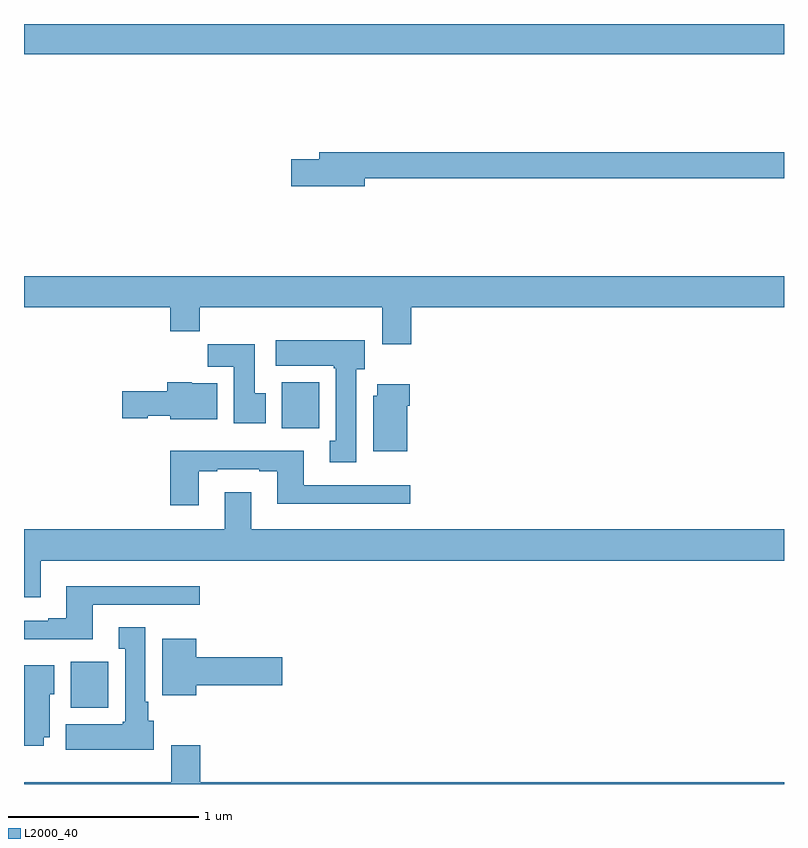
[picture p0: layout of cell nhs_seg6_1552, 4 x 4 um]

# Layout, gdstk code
import gdstk
lib = gdstk.Library(unit=1e-6, precision=1e-09)
def R(c, l, rs):  # rectangles x0, y0, x1, y1
    for r in rs: c.add(gdstk.rectangle(r[:2], r[2:], *l))
def P(c, l, *ps):  # polygons
    for p in ps: c.add(gdstk.Polygon(p, *l))
L2000_40 = (2000, 40)

nhs_seg6_1552 = lib.new_cell('nhs_seg6_1552')
R(nhs_seg6_1552, L2000_40, [(205.247,939.902,205.444,940.144), (206.357,941.372,206.554,941.614), (205,943.34,209,943.5)])
P(nhs_seg6_1552, L2000_40, [(206.794,942.688),(209,942.688),(209,942.824),(206.555,942.824),(206.555,942.788),(206.406,942.788),(206.406,942.646),(206.794,942.646)],
  [(207.038,942.008),(209,942.008),(209,942.172),(205,942.172),(205,942.008),(205.769,942.008),(205.769,941.884),(205.925,941.884),(205.925,942.008),(206.885,942.008),(206.885,941.814),(207.038,941.814)],
  [(206.749,941.682),(206.794,941.682),(206.794,941.836),(206.325,941.836),(206.325,941.702),(206.629,941.702),(206.629,941.689),(206.642,941.689),(206.642,941.306),(206.609,941.306),(206.609,941.193),(206.749,941.193)],
  [(206.272,941.556),(206.215,941.556),(206.215,941.815),(205.966,941.815),(205.966,941.696),(206.105,941.696),(206.105,941.4),(206.272,941.4)],
  [(206.017,941.608),(205.884,941.608),(205.884,941.614),(205.754,941.614),(205.754,941.568),(205.518,941.568),(205.518,941.426),(205.65,941.426),(205.65,941.438),(205.77,941.438),(205.77,941.42),(206.017,941.42)],
  [(207.016,941.492),(207.029,941.492),(207.029,941.605),(206.858,941.605),(206.858,941.544),(206.837,941.544),(206.837,941.252),(207.016,941.252)],
  [(205.921,941.145),(206.017,941.145),(206.017,941.157),(206.237,941.157),(206.237,941.145),(206.333,941.145),(206.333,940.976),(207.034,940.976),(207.034,941.073),(206.473,941.073),(206.473,941.254),(205.769,941.254),(205.769,940.968),(205.921,940.968)],
  [(205.087,940.676),(209,940.676),(209,940.84),(206.197,940.84),(206.197,941.035),(206.057,941.035),(206.057,940.84),(205,940.84),(205,940.482),(205.087,940.482)],
  [(205.363,940.443),(205.924,940.443),(205.924,940.54),(205.223,940.54),(205.223,940.372),(205.127,940.372),(205.127,940.359),(205,940.359),(205,940.262),(205.363,940.262)],
  [(205.684,939.834),(205.654,939.834),(205.654,939.934),(205.639,939.934),(205.639,940.324),(205.499,940.324),(205.499,940.211),(205.532,940.211),(205.532,939.828),(205.519,939.828),(205.519,939.814),(205.22,939.814),(205.22,939.68),(205.684,939.68)],
  [(205.906,940.019),(206.359,940.019),(206.359,940.166),(205.906,940.166),(205.906,940.264),(205.727,940.264),(205.727,939.968),(205.906,939.968)],
  [(205.105,939.746),(205.135,939.746),(205.135,939.972),(205.159,939.972),(205.159,940.126),(205,940.126),(205,939.702),(205.105,939.702)],
  [(209,939.508),(205.928,939.508),(205.928,939.703),(205.775,939.703),(205.775,939.508),(205,939.508),(205,939.5),(209,939.5)])

lib.write_gds('nhs_seg6_1552.gds')
